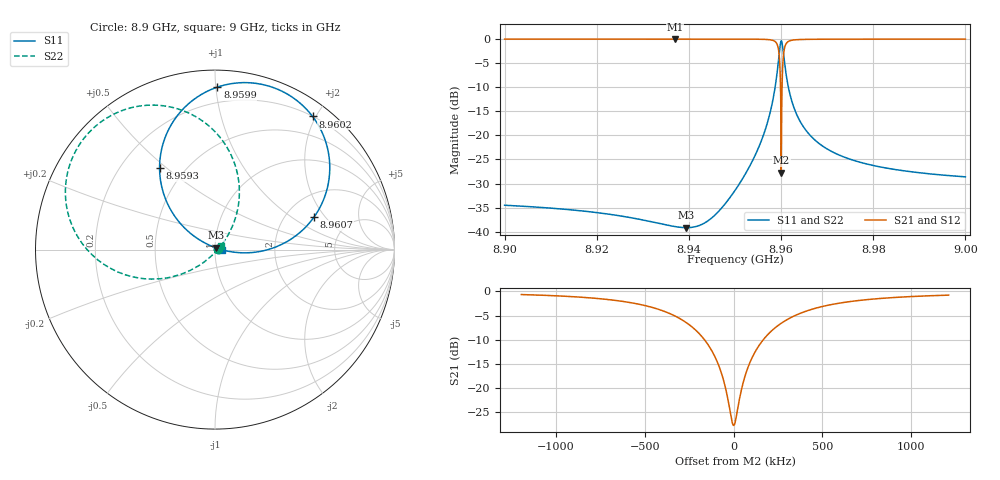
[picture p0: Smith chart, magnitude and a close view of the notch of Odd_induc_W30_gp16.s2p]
! Sonnet Data File
! From: emgraph Version : 16.52
! From Project: Resonator2_cp_varyW
! Data is De-embedded
! Data File Written: 10/09/2017 07:41:30
!< HDATE 10/08/2017 22:10:33
!< MDATE 10/08/2017 22:10:33
!< PARAMS
!< Length = 400.0
!< Pwid1 = 2000.0
!< Pwid2 = 2000.0
!< Air_gap = 18.0
!< Width = 30.0
!< gap = 16.0
!< END PARAMS
# GHZ S MA R 43.05000
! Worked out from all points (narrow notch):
!   1595 points, 8.9 GHz to 9 GHz, reference 43.05 ohm
!   highest |S21| = 0.00 dB at 8.937 GHz (marker M1); lowest = -27.7 dB at 8.96 GHz (marker M2)
!   notch at M2: 27.7 dB deep, 202 kHz wide at half that depth
!   lowest |S11| = -39.2 dB at 8.9394 GHz (marker M3), VSWR 1.02, Z = 43.4 + j0.896 ohm
!   |S11| at or under -10 dB: start of sweep to 8.9587 GHz; 8.961585 GHz to end of sweep
!   |S22| runs from -39.2 to -0.4 dB; largest |S21 - S12| = 0
!   S11 on the Smith chart (normalised r, x): 8.9 GHz: 1.04, +0.01; 8.9593 GHz: 0.36, +0.47; 8.9599 GHz: 0.10, +1.01; 8.9602 GHz: 0.20, +1.96; 8.9607 GHz: 2.83, +1.56; 9 GHz: 1.08, -0.00
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8.9  0.01882 17.3  0.9998 -74.8  0.9998 -74.8  0.01882 13.2
!< P1 F=8.9 Eeff=(5.1612639 -2.2548e-5) Z0=(43.0590329 9.5502e-5) R=0.0 C=0.0
!< P2 F=8.9 Eeff=(5.1612639 -2.2548e-5) Z0=(43.0590329 9.5502e-5) R=0.0 C=0.0
8.9167  0.01644 23.2  0.9999 -75.1  0.9999 -75.1  0.01643 6.7
8.9334  0.01222 44.9  0.9999 -75.6  0.9999 -75.6  0.01219 -16.0
8.937  0.01128 57.7  0.9999 -75.8  0.9999 -75.8  0.01124 -29.2
8.9394  0.01101 69.9  0.9999 -76.0  0.9999 -76.0  0.01095 -41.8
8.945  0.01395 107.6  0.9999 -76.5  0.9999 -76.5  0.01387 -80.8
8.95  0.0268 134.5  0.9995 -77.5  0.9995 -77.5  0.02671 -109.7
8.957399  0.1564 146.8  0.9863 -85.1  0.9863 -85.1  0.1562 -137.9
8.958692  0.3136 139.1  0.9445 -94.4  0.9445 -94.4  0.3133 -149.7
8.95935  0.5487 124.2  0.8196 -109.4  0.8196 -109.4  0.5481 -166.5
8.959693  0.781 105.1  0.5803 -127.3  0.5803 -127.3  0.7802 173.4
8.959869  0.9053 89.2  0.3317 -140.1  0.3317 -140.1  0.9044 157.0
8.959964  0.9475 79.0  0.1604 -142.5  0.1604 -142.5  0.9466 146.6
8.960042  0.9594 70.2  0.04104 -77.4  0.04104 -77.4  0.9585 137.6
8.960114  0.9499 62.2  0.1467 -10.3  0.1467 -10.3  0.949 129.3
8.960193  0.9198 53.8  0.2883 -10.5  0.2883 -10.5  0.9189 120.7
8.960406  0.7817 35.1  0.5821 -24.9  0.5821 -24.9  0.7809 101.5
8.960721  0.5819 18.3  0.7965 -40.6  0.7965 -40.6  0.5814 83.9
8.962329  0.227 -3.6  0.9721 -63.1  0.9721 -63.1  0.2268 58.4
8.9667  0.09564 -7.7  0.9952 -70.8  0.9952 -70.8  0.09559 46.5
8.9834  0.04527 -3.5  0.999 -73.8  0.999 -73.8  0.04527 35.9
9  0.0371 -0.9  0.9993 -74.5  0.9993 -74.5  0.0371 32.0
